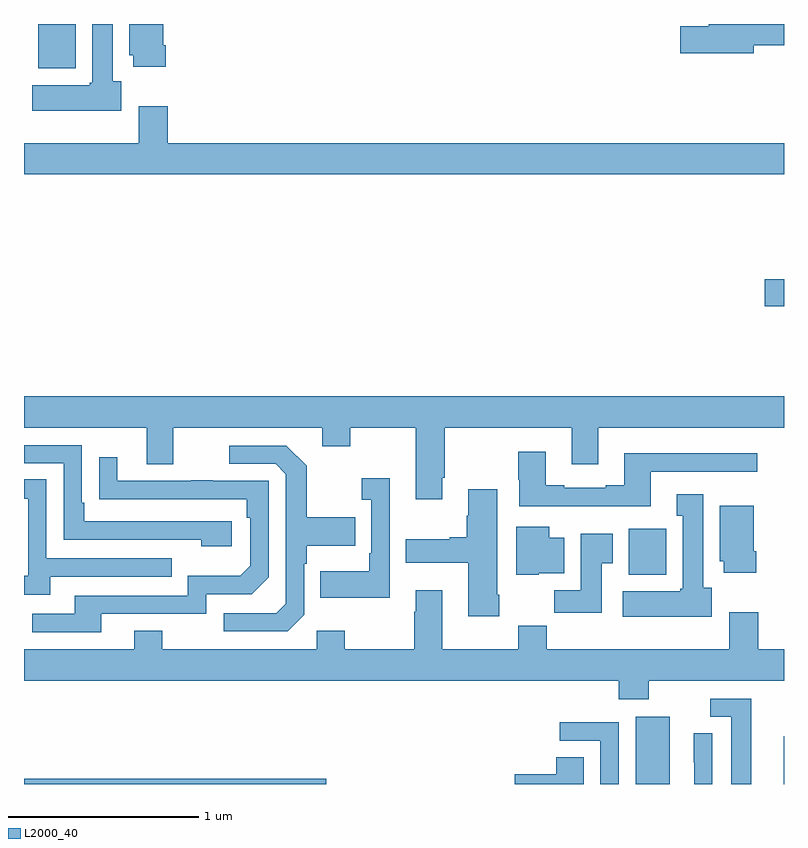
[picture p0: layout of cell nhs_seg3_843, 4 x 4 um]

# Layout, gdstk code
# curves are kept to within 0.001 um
import gdstk
lib = gdstk.Library(unit=1e-6, precision=1e-09)
def R(c, l, rs):  # rectangles x0, y0, x1, y1
    for r in rs: c.add(gdstk.rectangle(r[:2], r[2:], *l))
def P(c, l, *ps):  # polygons
    for p in ps: c.add(gdstk.Polygon(p, *l))
L2000_40 = (2000, 40)

nhs_seg3_843 = lib.new_cell('nhs_seg3_843')
R(nhs_seg3_843, L2000_40, [(155,672.4,156.592,672.428), (158.219,672.4,158.398,672.754), (158.999,672.4,159,672.651), (158.183,673.502,158.38,673.744), (158.898,674.914,159,675.056), (155.075,676.166,155.272,676.4)])
P(nhs_seg3_843, L2000_40, [(155.747,676.288),(155.734,676.288),(155.734,676.4),(155.555,676.4),(155.555,676.236),(155.576,676.236),(155.576,676.176),(155.747,676.176)],
  [(155.512,676.098),(155.467,676.098),(155.467,676.4),(155.36,676.4),(155.36,676.092),(155.347,676.092),(155.347,676.078),(155.043,676.078),(155.043,675.944),(155.512,675.944)],
  [(158.842,676.288),(159,676.288),(159,676.4),(158.603,676.4),(158.603,676.388),(158.454,676.388),(158.454,676.246),(158.842,676.246)],
  [(159,675.772),(155.756,675.772),(155.756,675.967),(155.603,675.967),(155.603,675.772),(155,675.772),(155,675.608),(159,675.608)],
  [(155,674.276),(155.645,674.276),(155.645,674.082),(155.785,674.082),(155.785,674.276),(156.569,674.276),(156.569,674.177),(156.717,674.177),(156.717,674.276),(157.061,674.276),(157.061,673.899),(157.201,673.899),(157.201,674.011),(157.214,674.011),(157.214,674.276),(157.883,674.276),(157.883,674.082),(158.023,674.082),(158.023,674.276),(159,674.276),(159,674.44),(155,674.44)],
  [(156.094,673.782),(155.317,673.782),(155.317,673.879),(155.304,673.879),(155.304,674.184),(155,674.184),(155,674.088),(155.208,674.088),(155.208,673.686),(155.933,673.686),(155.933,673.652),(156.094,673.652)],
  [(156.474,673.29),(156.474,673.559),(156.487,673.559),(156.487,673.655),(156.743,673.655),(156.743,673.803),(156.487,673.803),(156.487,674.075),(156.381,674.181),(156.081,674.181),(156.081,674.085),(156.324,674.085),(156.378,674.031),(156.378,673.35),(156.327,673.299),(156.051,673.299),(156.051,673.203),(156.387,673.203)],
  [(158.299,674.043),(158.86,674.043),(158.86,674.14),(158.159,674.14),(158.159,673.972),(158.063,673.972),(158.063,673.959),(157.843,673.959),(157.843,673.972),(157.747,673.972),(157.747,674.149),(157.6,674.149),(157.6,674.001),(157.607,674.001),(157.607,673.862),(158.299,673.862)],
  [(155.407,673.296),(155.958,673.296),(155.958,673.398),(156.198,673.398),(156.288,673.488),(156.288,673.995),(155.993,673.995),(155.993,674),(155.881,674),(155.881,673.995),(155.491,673.995),(155.491,674.119),(155.395,674.119),(155.395,673.9),(156.172,673.899),(156.172,673.802),(156.192,673.802),(156.192,673.548),(156.139,673.495),(155.862,673.495),(155.862,673.392),(155.267,673.392),(155.267,673.296),(155.043,673.296),(155.043,673.2),(155.407,673.2)],
  [(156.924,673.783),(156.925,673.783),(156.925,674.008),(156.777,674.008),(156.777,673.895),(156.828,673.895),(156.828,673.615),(156.816,673.615),(156.816,673.519),(156.559,673.519),(156.559,673.379),(156.924,673.379)],
  [(155.137,673.491),(155.777,673.491),(155.777,673.587),(155.118,673.587),(155.118,674.003),(155,674.003),(155,673.902),(155.022,673.902),(155.022,673.497),(155,673.497),(155,673.397),(155.137,673.397)],
  [(157.5,673.396),(157.492,673.396),(157.492,673.951),(157.337,673.951),(157.337,673.811),(157.33,673.811),(157.33,673.7),(157.241,673.7),(157.241,673.687),(157.009,673.687),(157.009,673.565),(157.337,673.565),(157.337,673.284),(157.5,673.284)],
  [(158.62,673.434),(158.575,673.434),(158.575,673.924),(158.435,673.924),(158.435,673.811),(158.468,673.811),(158.468,673.428),(158.455,673.428),(158.455,673.414),(158.151,673.414),(158.151,673.28),(158.62,673.28)],
  [(158.855,673.624),(158.842,673.624),(158.842,673.864),(158.663,673.864),(158.663,673.572),(158.684,673.572),(158.684,673.512),(158.855,673.512)],
  [(157.71,673.508),(157.843,673.508),(157.843,673.696),(157.765,673.696),(157.765,673.753),(157.592,673.753),(157.592,673.502),(157.71,673.502)],
  [(158.041,673.561),(158.098,673.561),(158.098,673.717),(157.931,673.717),(157.931,673.42),(157.792,673.42),(157.792,673.302),(158.041,673.302)],
  [(158.289,672.944),(159,672.944),(159,673.108),(158.864,673.108),(158.864,673.303),(158.711,673.303),(158.711,673.108),(157.751,673.108),(157.751,673.232),(157.6,673.232),(157.6,673.108),(157.201,673.108),(157.201,673.42),(157.061,673.42),(157.061,673.307),(157.054,673.307),(157.054,673.108),(156.687,673.108),(156.687,673.207),(156.54,673.207),(156.54,673.108),(155.727,673.108),(155.727,673.207),(155.579,673.207),(155.579,673.108),(155,673.108),(155,672.944),(158.129,672.944),(158.129,672.845),(158.289,672.845)],
  [(158.827,672.849),(158.613,672.849),(158.613,672.753),(158.723,672.753),(158.723,672.4),(158.827,672.4)],
  [(158.13,672.726),(157.821,672.726),(157.821,672.627),(158.034,672.627),(158.034,672.4),(158.13,672.4)],
  [(158.622,672.668),(158.526,672.668),(158.526,672.514),(158.528,672.514),(158.528,672.4),(158.622,672.4)],
  [(157.945,672.542),(157.802,672.542),(157.802,672.452),(157.584,672.452),(157.584,672.4),(157.945,672.4)])

lib.write_gds('nhs_seg3_843.gds')
